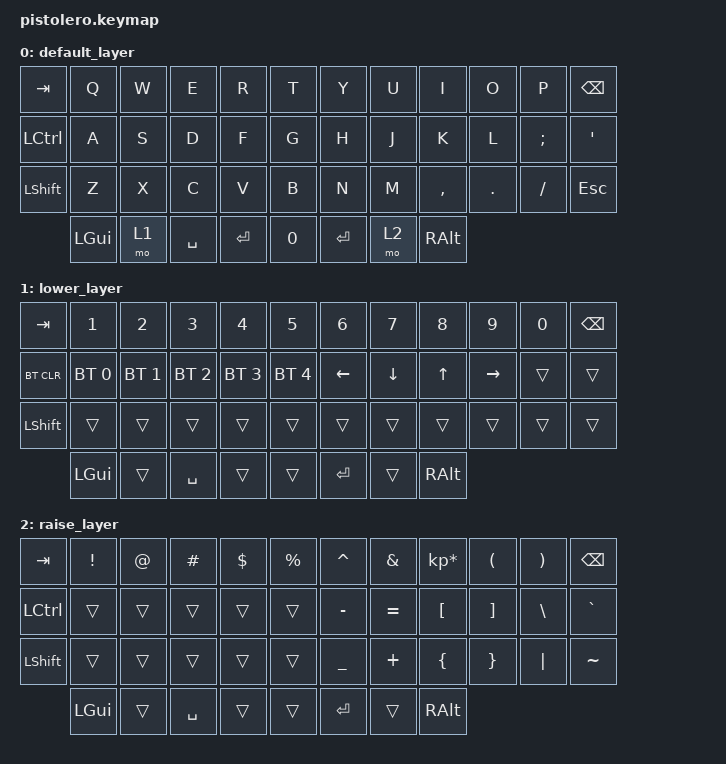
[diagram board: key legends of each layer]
/*
 * Copyright (c) 2020 The ZMK Contributors
 *
 * SPDX-License-Identifier: MIT
 */

#include <behaviors.dtsi>
#include <dt-bindings/zmk/keys.h>
#include <dt-bindings/zmk/bt.h>

/ {
        keymap {
                compatible = "zmk,keymap";

                default_layer {
// -----------------------------------------------------------------------------------------
// |  TAB |  Q  |  W  |  E  |  R  |  T  |   |  Y  |  U   |  I  |  O  |  P  | BKSP |
// | CTRL |  A  |  S  |  D  |  F  |  G  |   |  H  |  J   |  K  |  L  |  ;  |  '   |
// | SHFT |  Z  |  X  |  C  |  V  |  B  |   |  N  |  M   |  ,  |  .  |  /  | ESC  |
//                    | GUI | LWR | SPC |   | ENT | RSE  | ALT |
                        bindings = <
   &kp TAB &kp Q &kp W &kp E &kp R &kp T       &kp Y &kp U  &kp I     &kp O   &kp P    &kp BSPC
   &kp LCTRL &kp A &kp S &kp D &kp F &kp G       &kp H &kp J  &kp K     &kp L   &kp SEMI &kp SQT
   &kp LSHFT &kp Z &kp X &kp C &kp V &kp B       &kp N &kp M  &kp COMMA &kp DOT &kp FSLH &kp ESC
                &kp LGUI &mo 1 &kp SPACE &kp RET       &kp N0  &kp RET &mo 2 &kp RALT
                        >;
                };
                lower_layer {
// -----------------------------------------------------------------------------------------
// |  TAB |  1  |  2  |  3  |  4  |  5  |   |  6  |  7  |  8  |  9  |  0  | BKSP |
// | BTCLR| BT1 | BT2 | BT3 | BT4 | BT5 |   | LFT | DWN |  UP | RGT |     |      |
// | SHFT |     |     |     |     |     |   |     |     |     |     |     |      |
//                    | GUI |     | SPC |   | ENT |     | ALT |
                        bindings = <
   &kp TAB    &kp N1       &kp N2       &kp N3       &kp N4       &kp N5         &kp N6   &kp N7   &kp N8 &kp N9    &kp N0 &kp BSPC
   &bt BT_CLR &bt BT_SEL 0 &bt BT_SEL 1 &bt BT_SEL 2 &bt BT_SEL 3 &bt BT_SEL 4   &kp LEFT &kp DOWN &kp UP &kp RIGHT &trans &trans
   &kp LSHFT  &trans       &trans       &trans       &trans       &trans         &trans   &trans   &trans &trans    &trans &trans
              &kp LGUI     &trans       &kp SPACE       &trans      &trans       &kp RET  &trans   &kp RALT
                        >;
                };

                raise_layer {
// -----------------------------------------------------------------------------------------
// |  TAB |  !  |  @  |  #  |  $  |  %  |   |  ^  |  &  |  *  |  (  |  )  | BKSP |
// | CTRL |     |     |     |     |     |   |  -  |  =  |  [  |  ]  |  \  |  `   |
// | SHFT |     |     |     |     |     |   |  _  |  +  |  {  |  }  | "|" |  ~   |
//                    | GUI |     | SPC |   | ENT |     | ALT |
                        bindings = <
   &kp  TAB  &kp EXCL &kp AT &kp HASH &kp DLLR &kp PRCNT   &kp CARET &kp AMPS  &kp KP_MULTIPLY &kp LPAR &kp RPAR &kp BSPC
   &kp LCTRL &trans   &trans &trans   &trans   &trans      &kp MINUS &kp EQUAL &kp LBKT        &kp RBKT &kp BSLH &kp GRAVE
   &kp LSHFT &trans   &trans &trans   &trans   &trans      &kp UNDER &kp PLUS  &kp LBRC        &kp RBRC &kp PIPE &kp TILDE
             &kp LGUI &trans   &kp SPACE   &trans   &trans   &kp RET   &trans    &kp RALT
                        >;
                };
        };
};

/*
 * Copyright (c) 2020 The ZMK Contributors
 *
 * SPDX-License-Identifier: MIT


#include <behaviors.dtsi>
#include <dt-bindings/zmk/keys.h>
#include <dt-bindings/zmk/bt.h>

/ {
        keymap {
                compatible = "zmk,keymap";

                default_layer {
// -----------------------------------------------------------------------------------------
// |  TAB |  Q  |  W  |  E  |  R  |  T  |   |  Y  |  U   |  I  |  O  |  P  | BKSP |
// | CTRL |  A  |  S  |  D  |  F  |  G  |   |  H  |  J   |  K  |  L  |  ;  |  '   |
// | SHFT |  Z  |  X  |  C  |  V  |  B  |   |  N  |  M   |  ,  |  .  |  /  | ESC  |
//                    | GUI | LWR | SPC |   | ENT | RSE  | ALT |
                        bindings = <
   &kp TAB   &kp Q &kp W &kp E &kp R &kp T   &kp Y &kp U  &kp I     &kp O   &kp P    &kp BSPC
   &kp LCTRL &kp A &kp S &kp D &kp F &kp G   &kp H &kp J  &kp K     &kp L   &kp SEMI &kp SQT
   &kp LSHFT &kp Z &kp X &kp C &kp V &kp B   &kp N &kp M  &kp COMMA &kp DOT &kp FSLH &kp ESC
                  &kp LGUI &mo 1 &kp SPACE   &kp RET &mo 2 &kp RALT
                        >;
                };
                lower_layer {
// -----------------------------------------------------------------------------------------
// |  TAB |  1  |  2  |  3  |  4  |  5  |   |  6  |  7  |  8  |  9  |  0  | BKSP |
// | BTCLR| BT1 | BT2 | BT3 | BT4 | BT5 |   | LFT | DWN |  UP | RGT |     |      |
// | SHFT |     |     |     |     |     |   |     |     |     |     |     |      |
//                    | GUI |     | SPC |   | ENT |     | ALT |
                        bindings = <
   &kp TAB    &kp N1       &kp N2       &kp N3       &kp N4       &kp N5         &kp N6   &kp N7   &kp N8 &kp N9    &kp N0 &kp BSPC
   &bt BT_CLR &bt BT_SEL 0 &bt BT_SEL 1 &bt BT_SEL 2 &bt BT_SEL 3 &bt BT_SEL 4   &kp LEFT &kp DOWN &kp UP &kp RIGHT &trans &trans
   &kp LSHFT  &trans       &trans       &trans       &trans       &trans         &trans   &trans   &trans &trans    &trans &trans
                                    &kp LGUI     &trans       &kp SPACE      &kp RET  &trans   &kp RALT
                        >;
                };

                raise_layer {
// -----------------------------------------------------------------------------------------
// |  TAB |  !  |  @  |  #  |  $  |  %  |   |  ^  |  &  |  *  |  (  |  )  | BKSP |
// | CTRL |     |     |     |     |     |   |  -  |  =  |  [  |  ]  |  \  |  `   |
// | SHFT |     |     |     |     |     |   |  _  |  +  |  {  |  }  | "|" |  ~   |
//                    | GUI |     | SPC |   | ENT |     | ALT |
                        bindings = <
   &kp  TAB  &kp EXCL &kp AT &kp HASH &kp DLLR &kp PRCNT   &kp CARET &kp AMPS  &kp KP_MULTIPLY &kp LPAR &kp RPAR &kp BSPC
   &kp LCTRL &trans   &trans &trans   &trans   &trans      &kp MINUS &kp EQUAL &kp LBKT        &kp RBKT &kp BSLH &kp GRAVE
   &kp LSHFT &trans   &trans &trans   &trans   &trans      &kp UNDER &kp PLUS  &kp LBRC        &kp RBRC &kp PIPE &kp TILDE
                     &kp LGUI &trans   &kp SPACE   &kp RET   &trans    &kp RALT
                        >;
                };
        };
};

 */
